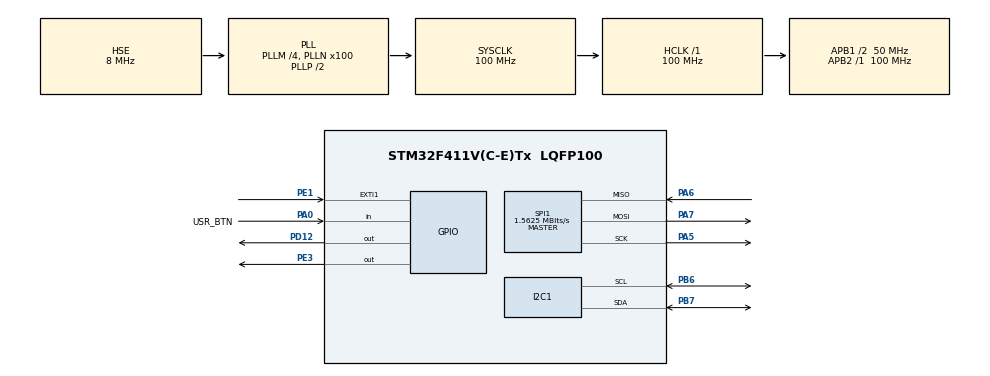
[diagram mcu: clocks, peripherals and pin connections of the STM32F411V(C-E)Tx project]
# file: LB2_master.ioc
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Mcu.Family=STM32F4
Mcu.Name=STM32F411V(C-E)Tx
Mcu.Package=LQFP100
NVIC.EXTI1_IRQn=true\:0\:0\:false\:true\:true\:1\:true\:true
NVIC.I2C1_ER_IRQn=true\:0\:0\:false\:false\:true\:true\:true
NVIC.I2C1_EV_IRQn=true\:0\:0\:false\:false\:true\:true\:true
NVIC.PriorityGroup=NVIC_PRIORITYGROUP_4
PA0-WKUP.GPIO_Label=USR_BTN
PA0-WKUP.GPIO_PuPd=GPIO_PULLDOWN
PA0-WKUP.Signal=GPIO_Input
PA5.Mode=Full_Duplex_Master
PA5.Signal=SPI1_SCK
PA6.Mode=Full_Duplex_Master
PA6.Signal=SPI1_MISO
PA7.Mode=Full_Duplex_Master
PA7.Signal=SPI1_MOSI
PB6.GPIO_Pu=GPIO_PULLUP
PB6.Mode=I2C
PB6.Signal=I2C1_SCL
PB7.GPIO_Pu=GPIO_PULLUP
PB7.Mode=I2C
PB7.Signal=I2C1_SDA
PD12.Signal=GPIO_Output
PE1.GPIO_PuPd=GPIO_PULLDOWN
PE1.Signal=GPXTI1
PE3.GPIO_ModeDefaultOutputPP=GPIO_MODE_OUTPUT_PP
PE3.GPIO_PuPd=GPIO_NOPULL
PE3.PinState=GPIO_PIN_SET
PE3.Signal=GPIO_Output
PH0\ -\ OSC_IN.Mode=HSE-External-Oscillator
PH0\ -\ OSC_IN.Signal=RCC_OSC_IN
PH1\ -\ OSC_OUT.Mode=HSE-External-Oscillator
PH1\ -\ OSC_OUT.Signal=RCC_OSC_OUT
ProjectManager.HeapSize=0x200
ProjectManager.StackSize=0x400
ProjectManager.TargetToolchain=MDK-ARM V5.32
RCC.48MHZClocksFreq_Value=50000000
RCC.AHBFreq_Value=100000000
RCC.APB1CLKDivider=RCC_HCLK_DIV2
RCC.APB1Freq_Value=50000000
RCC.APB1TimFreq_Value=100000000
RCC.APB2Freq_Value=100000000
RCC.APB2TimFreq_Value=100000000
RCC.CortexFreq_Value=100000000
RCC.HCLKFreq_Value=100000000
RCC.HSE_VALUE=8000000
RCC.HSI_VALUE=16000000
RCC.LSE_VALUE=32768
RCC.PLLM=4
RCC.PLLN=100
RCC.PLLSourceVirtual=RCC_PLLSOURCE_HSE
RCC.SYSCLKFreq_VALUE=100000000
RCC.SYSCLKSource=RCC_SYSCLKSOURCE_PLLCLK
RCC.VCOOutputFreq_Value=200000000
SPI1.BaudRatePrescaler=SPI_BAUDRATEPRESCALER_64
SPI1.CalculateBaudRate=1.5625 MBits/s
SPI1.Direction=SPI_DIRECTION_2LINES
SPI1.Mode=SPI_MODE_MASTER
SPI1.VirtualType=VM_MASTER
board=custom

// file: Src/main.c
/* USER CODE BEGIN Header */
/**
  ******************************************************************************
  * @file           : main.c
  * @brief          : Main program body
  ******************************************************************************
  * @attention
  *
  * <h2><center>&copy; Copyright (c) 2023 STMicroelectronics.
  * All rights reserved.</center></h2>
  *
  * This software component is licensed by ST under BSD 3-Clause license,
  * the "License"; You may not use this file except in compliance with the
  * License. You may obtain a copy of the License at:
  *                        opensource.org/licenses/BSD-3-Clause
  *
  ******************************************************************************
  */
/* USER CODE END Header */
#include "main.h"

I2C_HandleTypeDef hi2c1;

SPI_HandleTypeDef hspi1;

/* USER CODE BEGIN PV */

int16_t gyro_data[3] = {0};

int16_t gyro_x = 0;
int16_t gyro_y = 0;
int16_t gyro_z = 0;

Pixel p1 = {16, 8};

uint16_t slaveADDR = 10 << 1;
uint8_t TxData[2] = {16, 8};

int ret;

/* USER CODE END PV */

void SystemClock_Config(void);
static void MX_GPIO_Init(void);
static void MX_SPI1_Init(void);
static void MX_I2C1_Init(void);
static void MX_NVIC_Init(void);

int main(void)
{

  /* MCU Configuration--------------------------------------------------------*/

  /* Reset of all peripherals, Initializes the Flash interface and the Systick. */
  HAL_Init();

  /* Configure the system clock */
  SystemClock_Config();

  /* Initialize all configured peripherals */
  MX_GPIO_Init();
  MX_SPI1_Init();
  MX_I2C1_Init();

  /* Initialize interrupts */
  MX_NVIC_Init();
  /* USER CODE BEGIN 2 */

	L3GD20_Ini();
	L3GD20_GetXYZ(gyro_data);

  /* USER CODE END 2 */

  /* Infinite loop */
  /* USER CODE BEGIN WHILE */
    while (1) {

			gyro_x = gyro_data[0] + 10880 ;
			gyro_y = gyro_data[1] + 2075;
			gyro_z = gyro_data[2];

      if (HAL_GPIO_ReadPin(USR_BTN_GPIO_Port, USR_BTN_Pin)) {
				p1.x = 16;
				p1.y = 8;
			}

			UpdateCenterPosition(&p1, -gyro_x, gyro_y);
			TxData[0] = p1.x;
			TxData[1] = p1.y;
			HAL_I2C_Master_Transmit_IT(&hi2c1, slaveADDR, TxData, 2);

//			if ( ret != HAL_OK ) {
//				HAL_GPIO_WritePin(GPIOD,  GPIO_PIN_12, 1);
//			}
//
//
//		 if ( ret == HAL_OK ) {
//			 HAL_GPIO_TogglePin(GPIOD, GPIO_PIN_12);

//				HAL_Delay(200);
//		 }
			HAL_Delay(50);

    /* USER CODE END WHILE */

    }
}

void SystemClock_Config(void)
{
  RCC_OscInitTypeDef RCC_OscInitStruct = {0};
  RCC_ClkInitTypeDef RCC_ClkInitStruct = {0};

  /** Configure the main internal regulator output voltage
  */
  __HAL_RCC_PWR_CLK_ENABLE();
  __HAL_PWR_VOLTAGESCALING_CONFIG(PWR_REGULATOR_VOLTAGE_SCALE1);
  /** Initializes the RCC Oscillators according to the specified parameters
  * in the RCC_OscInitTypeDef structure.
  */
  RCC_OscInitStruct.OscillatorType = RCC_OSCILLATORTYPE_HSE;
  RCC_OscInitStruct.HSEState = RCC_HSE_ON;
  RCC_OscInitStruct.PLL.PLLState = RCC_PLL_ON;
  RCC_OscInitStruct.PLL.PLLSource = RCC_PLLSOURCE_HSE;
  RCC_OscInitStruct.PLL.PLLM = 4;
  RCC_OscInitStruct.PLL.PLLN = 100;
  RCC_OscInitStruct.PLL.PLLP = RCC_PLLP_DIV2;
  RCC_OscInitStruct.PLL.PLLQ = 4;
  if (HAL_RCC_OscConfig(&RCC_OscInitStruct) != HAL_OK)
  {
    Error_Handler();
  }
  /** Initializes the CPU, AHB and APB buses clocks
  */
  RCC_ClkInitStruct.ClockType = RCC_CLOCKTYPE_HCLK|RCC_CLOCKTYPE_SYSCLK
                              |RCC_CLOCKTYPE_PCLK1|RCC_CLOCKTYPE_PCLK2;
  RCC_ClkInitStruct.SYSCLKSource = RCC_SYSCLKSOURCE_PLLCLK;
  RCC_ClkInitStruct.AHBCLKDivider = RCC_SYSCLK_DIV1;
  RCC_ClkInitStruct.APB1CLKDivider = RCC_HCLK_DIV2;
  RCC_ClkInitStruct.APB2CLKDivider = RCC_HCLK_DIV1;

  if (HAL_RCC_ClockConfig(&RCC_ClkInitStruct, FLASH_LATENCY_3) != HAL_OK)
  {
    Error_Handler();
  }
}

/**
  * @brief NVIC Configuration.
  * @retval None
  */
static void MX_NVIC_Init(void)
{
  /* EXTI1_IRQn interrupt configuration */
  HAL_NVIC_SetPriority(EXTI1_IRQn, 0, 0);
  HAL_NVIC_EnableIRQ(EXTI1_IRQn);
}

static void MX_I2C1_Init(void)
{

  hi2c1.Instance = I2C1;
  hi2c1.Init.ClockSpeed = 100000;
  hi2c1.Init.DutyCycle = I2C_DUTYCYCLE_2;
  hi2c1.Init.OwnAddress1 = 0;
  hi2c1.Init.AddressingMode = I2C_ADDRESSINGMODE_7BIT;
  hi2c1.Init.DualAddressMode = I2C_DUALADDRESS_DISABLE;
  hi2c1.Init.OwnAddress2 = 0;
  hi2c1.Init.GeneralCallMode = I2C_GENERALCALL_DISABLE;
  hi2c1.Init.NoStretchMode = I2C_NOSTRETCH_DISABLE;
  if (HAL_I2C_Init(&hi2c1) != HAL_OK)
  {
    Error_Handler();
  }

}

static void MX_SPI1_Init(void)
{

  /* SPI1 parameter configuration*/
  hspi1.Instance = SPI1;
  hspi1.Init.Mode = SPI_MODE_MASTER;
  hspi1.Init.Direction = SPI_DIRECTION_2LINES;
  hspi1.Init.DataSize = SPI_DATASIZE_8BIT;
  hspi1.Init.CLKPolarity = SPI_POLARITY_LOW;
  hspi1.Init.CLKPhase = SPI_PHASE_1EDGE;
  hspi1.Init.NSS = SPI_NSS_SOFT;
  hspi1.Init.BaudRatePrescaler = SPI_BAUDRATEPRESCALER_64;
  hspi1.Init.FirstBit = SPI_FIRSTBIT_MSB;
  hspi1.Init.TIMode = SPI_TIMODE_DISABLE;
  hspi1.Init.CRCCalculation = SPI_CRCCALCULATION_DISABLE;
  hspi1.Init.CRCPolynomial = 10;
  if (HAL_SPI_Init(&hspi1) != HAL_OK)
  {
    Error_Handler();
  }

}

static void MX_GPIO_Init(void)
{
  GPIO_InitTypeDef GPIO_InitStruct = {0};

  /* GPIO Ports Clock Enable */
  __HAL_RCC_GPIOE_CLK_ENABLE();
  __HAL_RCC_GPIOH_CLK_ENABLE();
  __HAL_RCC_GPIOA_CLK_ENABLE();
  __HAL_RCC_GPIOD_CLK_ENABLE();
  __HAL_RCC_GPIOB_CLK_ENABLE();

  /*Configure GPIO pin Output Level */
  HAL_GPIO_WritePin(GPIOE, GPIO_PIN_3, GPIO_PIN_SET);

  /*Configure GPIO pin Output Level */
  HAL_GPIO_WritePin(GPIOD, GPIO_PIN_12, GPIO_PIN_RESET);

  /*Configure GPIO pin : PE3 */
  GPIO_InitStruct.Pin = GPIO_PIN_3;
  GPIO_InitStruct.Mode = GPIO_MODE_OUTPUT_PP;
  GPIO_InitStruct.Pull = GPIO_NOPULL;
  GPIO_InitStruct.Speed = GPIO_SPEED_FREQ_LOW;
  HAL_GPIO_Init(GPIOE, &GPIO_InitStruct);

  /*Configure GPIO pin : USR_BTN_Pin */
  GPIO_InitStruct.Pin = USR_BTN_Pin;
  GPIO_InitStruct.Mode = GPIO_MODE_INPUT;
  GPIO_InitStruct.Pull = GPIO_PULLDOWN;
  HAL_GPIO_Init(USR_BTN_GPIO_Port, &GPIO_InitStruct);

  /*Configure GPIO pin : PD12 */
  GPIO_InitStruct.Pin = GPIO_PIN_12;
  GPIO_InitStruct.Mode = GPIO_MODE_OUTPUT_PP;
  GPIO_InitStruct.Pull = GPIO_NOPULL;
  GPIO_InitStruct.Speed = GPIO_SPEED_FREQ_LOW;
  HAL_GPIO_Init(GPIOD, &GPIO_InitStruct);

  /*Configure GPIO pin : PE1 */
  GPIO_InitStruct.Pin = GPIO_PIN_1;
  GPIO_InitStruct.Mode = GPIO_MODE_IT_RISING;
  GPIO_InitStruct.Pull = GPIO_PULLDOWN;
  HAL_GPIO_Init(GPIOE, &GPIO_InitStruct);

}

void Error_Handler(void)
{
    __disable_irq();
    while (1) {
    }
}

/************************ (C) COPYRIGHT STMicroelectronics *****END OF FILE****/
